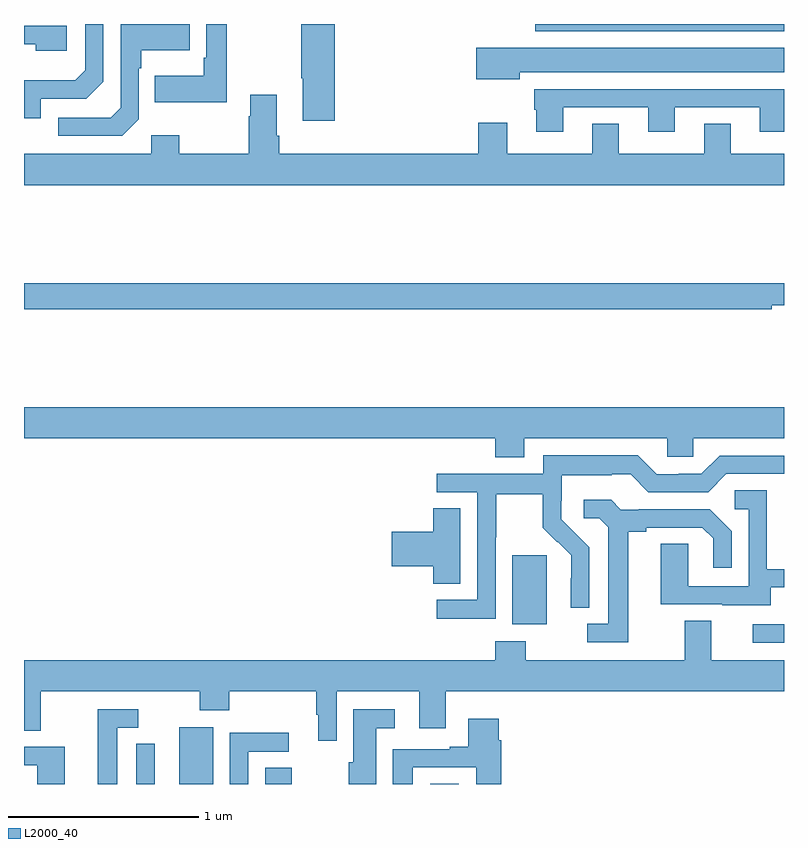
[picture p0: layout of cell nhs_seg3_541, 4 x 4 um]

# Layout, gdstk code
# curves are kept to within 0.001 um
import gdstk
lib = gdstk.Library(unit=1e-6, precision=1e-09)
def R(c, l, rs):  # rectangles x0, y0, x1, y1
    for r in rs: c.add(gdstk.rectangle(r[:2], r[2:], *l))
def P(c, l, *ps):  # polygons
    for p in ps: c.add(gdstk.Polygon(p, *l))
L2000_40 = (2000, 40)

nhs_seg3_541 = lib.new_cell('nhs_seg3_541')
R(nhs_seg3_541, L2000_40, [(137.816,728.4,137.995,728.698), (138.269,728.4,138.408,728.486), (139.139,728.4,139.288,728.402), (140.835,729.144,141,729.24), (139.571,729.242,139.75,729.603), (139.691,732.362,141,732.4)])
P(nhs_seg3_541, L2000_40, [(138.635,732.4),(138.46,732.4),(138.46,732.115),(138.467,732.115),(138.467,731.892),(138.635,731.892)],
  [(137.604,731.898),(137.604,732.167),(137.617,732.167),(137.617,732.263),(137.873,732.263),(137.873,732.4),(137.508,732.4),(137.508,731.958),(137.457,731.907),(137.181,731.907),(137.181,731.811),(137.517,731.811)],
  [(138.067,732.4),(137.958,732.4),(137.958,732.223),(137.946,732.223),(137.946,732.127),(137.689,732.127),(137.689,731.987),(138.067,731.987)],
  [(137.088,732.006),(137.328,732.006),(137.418,732.096),(137.418,732.4),(137.322,732.4),(137.322,732.156),(137.269,732.103),(137,732.103),(137,731.904),(137.088,731.904)],
  [(137.224,732.39),(137,732.39),(137,732.294),(137.063,732.294),(137.063,732.26),(137.224,732.26)],
  [(139.609,732.146),(141,732.146),(141,732.274),(139.38,732.274),(139.38,732.11),(139.609,732.11)],
  [(139.837,731.961),(140.285,731.961),(140.285,731.832),(140.425,731.832),(140.425,731.961),(140.873,731.961),(140.873,731.832),(141,731.832),(141,732.057),(139.685,732.057),(139.685,731.949),(139.697,731.949),(139.697,731.832),(139.837,731.832)],
  [(141,731.716),(140.719,731.716),(140.719,731.876),(140.579,731.876),(140.579,731.716),(140.131,731.716),(140.131,731.876),(139.991,731.876),(139.991,731.716),(139.543,731.716),(139.543,731.881),(139.391,731.881),(139.391,731.716),(138.344,731.716),(138.344,731.812),(138.331,731.812),(138.331,732.028),(138.191,732.028),(138.191,731.915),(138.184,731.915),(138.184,731.716),(137.817,731.716),(137.817,731.815),(137.67,731.815),(137.67,731.716),(137,731.716),(137,731.552),(141,731.552)],
  [(140.936,730.919),(141,730.919),(141,731.036),(137,731.036),(137,730.9),(140.936,730.9)],
  [(139.633,730.22),(140.385,730.22),(140.385,730.122),(140.523,730.122),(140.523,730.22),(141,730.22),(141,730.384),(137,730.384),(137,730.22),(139.481,730.22),(139.481,730.121),(139.633,730.121)],
  [(139.482,729.7),(139.485,729.7),(139.485,729.924),(139.729,729.924),(139.729,729.749),(139.806,729.672),(139.809,729.675),(139.88,729.605),(139.88,729.482),(139.878,729.482),(139.878,729.328),(139.974,729.328),(139.974,729.646),(139.828,729.794),(139.828,729.891),(139.83,729.891),(139.83,730.025),(140.093,730.025),(140.093,730.029),(140.193,730.029),(140.286,729.936),(140.601,729.936),(140.697,730.032),(141,730.032),(141,730.128),(140.661,730.128),(140.565,730.032),(140.447,730.032),(140.447,730.029),(140.331,730.029),(140.231,730.129),(139.734,730.129),(139.734,730.032),(139.173,730.032),(139.173,729.936),(139.386,729.936),(139.386,729.369),(139.173,729.369),(139.173,729.271),(139.482,729.271)],
  [(140.929,729.435),(141,729.435),(141,729.531),(140.91,729.531),(140.91,729.947),(140.742,729.947),(140.742,729.846),(140.814,729.846),(140.814,729.441),(140.496,729.441),(140.496,729.665),(140.351,729.665),(140.351,729.345),(140.675,729.345),(140.675,729.341),(140.929,729.341)],
  [(140.179,729.728),(140.275,729.728),(140.275,729.75),(140.57,729.75),(140.627,729.693),(140.627,729.537),(140.724,729.537),(140.724,729.73),(140.608,729.846),(140.236,729.846),(140.236,729.843),(140.142,729.843),(140.09,729.895),(139.947,729.895),(139.947,729.798),(140.028,729.798),(140.075,729.751),(140.075,729.243),(139.965,729.243),(139.965,729.147),(140.179,729.147)],
  [(139.297,729.851),(139.154,729.851),(139.154,729.728),(138.936,729.728),(138.936,729.545),(139.154,729.545),(139.154,729.454),(139.297,729.454)],
  [(138.645,728.888),(139.079,728.888),(139.079,728.694),(139.219,728.694),(139.219,728.888),(141,728.888),(141,729.052),(140.617,729.052),(140.617,729.26),(140.477,729.26),(140.477,729.052),(139.641,729.052),(139.641,729.151),(139.481,729.151),(139.481,729.052),(137,729.052),(137,728.68),(137.089,728.68),(137.089,728.888),(137.926,728.888),(137.926,728.789),(138.081,728.789),(138.081,728.888),(138.537,728.888),(138.537,728.764),(138.548,728.764),(138.548,728.628),(138.645,728.628)],
  [(138.853,728.693),(138.952,728.693),(138.952,728.794),(138.734,728.794),(138.734,728.514),(138.709,728.514),(138.709,728.4),(138.853,728.4)],
  [(137.491,728.697),(137.602,728.697),(137.602,728.793),(137.387,728.793),(137.387,728.4),(137.491,728.4)],
  [(139.045,728.487),(139.379,728.487),(139.379,728.4),(139.511,728.4),(139.511,728.63),(139.498,728.63),(139.498,728.743),(139.337,728.743),(139.337,728.596),(139.241,728.596),(139.241,728.583),(138.941,728.583),(138.941,728.4),(139.045,728.4)],
  [(138.18,728.571),(138.394,728.571),(138.394,728.67),(138.084,728.67),(138.084,728.4),(138.18,728.4)],
  [(137.687,728.458),(137.688,728.458),(137.688,728.612),(137.592,728.612),(137.592,728.4),(137.687,728.4)],
  [(137.215,728.595),(137,728.595),(137,728.499),(137.07,728.499),(137.07,728.4),(137.215,728.4)])

lib.write_gds('nhs_seg3_541.gds')
